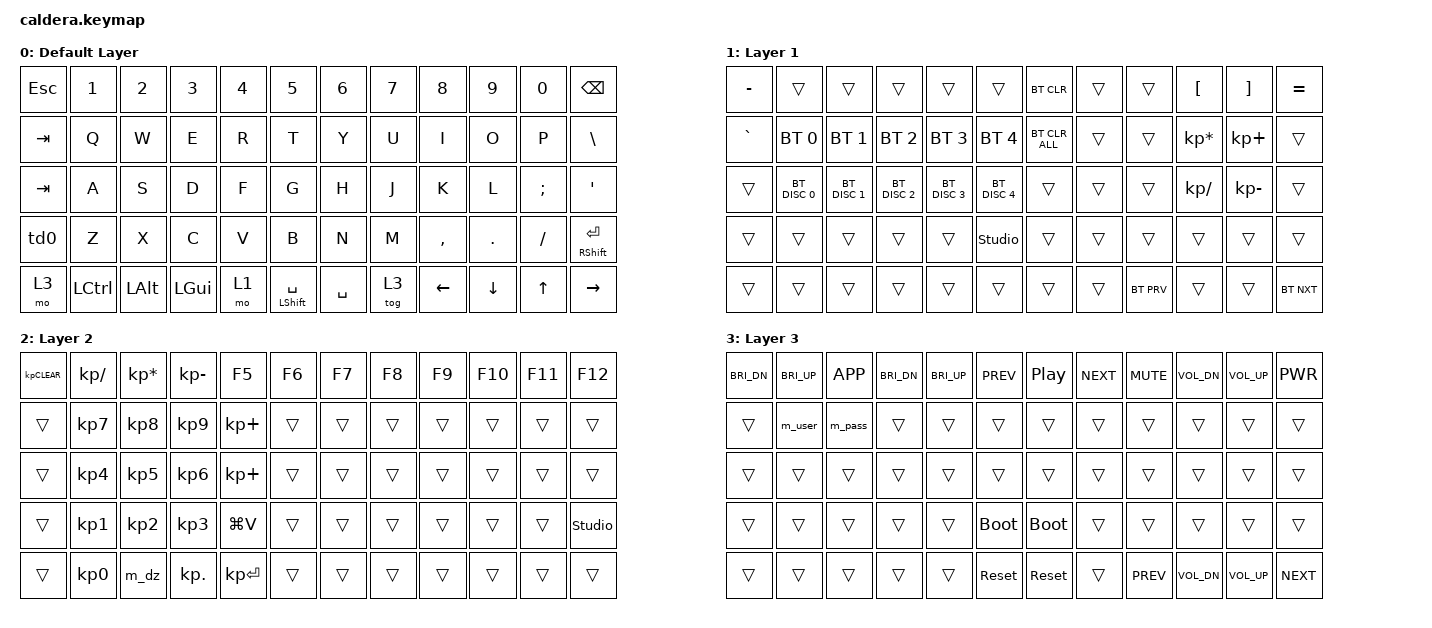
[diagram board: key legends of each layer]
#include <behaviors.dtsi>
#include <dt-bindings/zmk/keys.h>
#include <dt-bindings/zmk/bt.h>

/ {
    macros {
         m_pass: m_pass {
            compatible = "zmk,behavior-macro";
            #binding-cells = <0>;
            bindings
                = <&kp RS(H) &kp O &kp W &kp RS(I) &kp RS(M) &kp AT_SIGN &kp N2 &kp G &kp C &kp S >;
        };
        m_user: m_user {
            compatible = "zmk,behavior-macro";
            #binding-cells = <0>;
            bindings
                = <&kp N5 &kp N2 &kp N6 &kp N2 &kp N4 &kp N2 &kp N0 &kp N6 &kp N0>;
        };
        m_dz: m_user {
            compatible = "zmk,behavior-macro";
            #binding-cells = <0>;
            bindings
                = <&kp KP_N0 &kp KP_N0>;
        };
     };

    behaviors {
          td0: tap_dance_0 {
            compatible = "zmk,behavior-tap-dance";
            #binding-cells = <0>;
            tapping-term-ms = <200>;
            bindings = <&kp LSHFT>, <&kp CAPS>;
        };
          td1: tap_dance_1 {
            compatible = "zmk,behavior-tap-dance";
            #binding-cells = <0>;
            tapping-term-ms = <200>;
            bindings = <&kp N9>, <&kp LBKT>;
        };
          td2: tap_dance_2 {
            compatible = "zmk,behavior-tap-dance";
            #binding-cells = <0>;
            tapping-term-ms = <200>;
            bindings = <&kp N0>, <&kp RBKT>;
        };
    };

     keymap {
                compatible = "zmk,keymap";
                default_layer { //Layer 0
                        display-name = "Default Layer";
                        bindings = <
   &kp ESC    &kp N1      &kp N2      &kp N3      &kp N4       &kp N5               &kp N6      &kp N7       &kp N8      &kp N9      &kp N0      &kp BSPC
   &kp TAB    &kp Q       &kp W       &kp E       &kp R        &kp T                &kp Y       &kp U        &kp I       &kp O       &kp P       &kp BSLH
   &kp TAB    &kp A       &kp S       &kp D       &kp F        &kp G                &kp H       &kp J        &kp K       &kp L       &kp SEMI    &kp APOS
   &td0       &kp Z       &kp X       &kp C       &kp V        &kp B                &kp N       &kp M        &kp COMMA   &kp DOT     &kp FSLH    &mt RSHIFT RET
   &mo 3      &kp LCTRL   &kp LALT    &kp LGUI    &mo 1        &mt LSHIFT SPACE     &kp SPACE   &tog 3       &kp LEFT    &kp DOWN    &kp UP      &kp RIGHT
                        >;
                };
                l1 { //Layer 1
                        display-name = "Layer 1";
                        bindings = <
   &kp MINUS    &trans         &trans         &trans         &trans         &trans                &bt BT_CLR      &trans       &trans      &kp LBKT         &kp RBKT      &kp EQUAL
   &kp GRAVE    &bt BT_SEL 0   &bt BT_SEL 1   &bt BT_SEL 2   &bt BT_SEL 3   &bt BT_SEL 4          &bt BT_CLR_ALL  &trans       &trans      &kp KP_MULTIPLY  &kp KP_PLUS   &trans
   &trans       &bt BT_DISC 0  &bt BT_DISC 1  &bt BT_DISC 2  &bt BT_DISC 3  &bt BT_DISC 4         &trans          &trans       &trans      &kp KP_DIVIDE    &kp KP_MINUS  &trans
   &trans       &trans         &trans         &trans         &trans         &studio_unlock        &trans          &trans       &trans      &trans           &trans        &trans
   &trans       &trans         &trans         &trans         &trans         &trans                &trans          &trans       &bt BT_PRV  &trans           &trans        &bt BT_NXT
                        >;
                };
                l2 { //Layer 2
                        display-name = "Layer 2";
                        bindings = <
   &kp KP_CLEAR &kp KP_DIVIDE  &kp KP_MULTIPLY &kp KP_MINUS   &kp F5         &kp F6              &kp F7       &kp F8       &kp F9      &kp F10     &kp F11    &kp F12
   &trans       &kp KP_N7         &kp KP_N8    &kp KP_N9      &kp KP_PLUS    &trans              &trans       &trans       &trans      &trans      &trans     &trans
   &trans       &kp KP_N4         &kp KP_N5    &kp KP_N6      &kp KP_PLUS    &trans              &trans       &trans       &trans      &trans      &trans     &trans
   &trans       &kp KP_N1         &kp KP_N2    &kp KP_N3      &kp LG(V)      &trans              &trans       &trans       &trans      &trans      &trans     &studio_unlock
   &trans       &kp KP_N0         &m_dz        &kp KP_DOT     &kp KP_ENTER   &trans              &trans       &trans       &trans      &trans      &trans     &trans 
                        >;
                };
                l3 { //Layer 3
                        display-name = "Layer 3";
                        bindings = <
   &kp C_BRI_DN  &kp C_BRI_UP   &kp K_APP      &kp C_BRI_DN   &kp C_BRI_UP   &kp C_PREV          &kp C_PP     &kp C_NEXT   &kp C_MUTE  &kp C_VOL_DN  &kp C_VOL_UP  &kp C_PWR
   &trans        &m_user        &m_pass        &trans         &trans         &trans              &trans       &trans       &trans      &trans        &trans        &trans
   &trans        &trans         &trans         &trans         &trans         &trans              &trans       &trans       &trans      &trans        &trans        &trans
   &trans        &trans         &trans         &trans         &trans         &bootloader         &bootloader  &trans       &trans      &trans        &trans        &trans
   &trans        &trans         &trans         &trans         &trans         &sys_reset          &sys_reset   &trans       &kp C_PREV  &kp C_VOL_DN  &kp C_VOL_UP  &kp C_NEXT
                        >;
                };
        };
};

